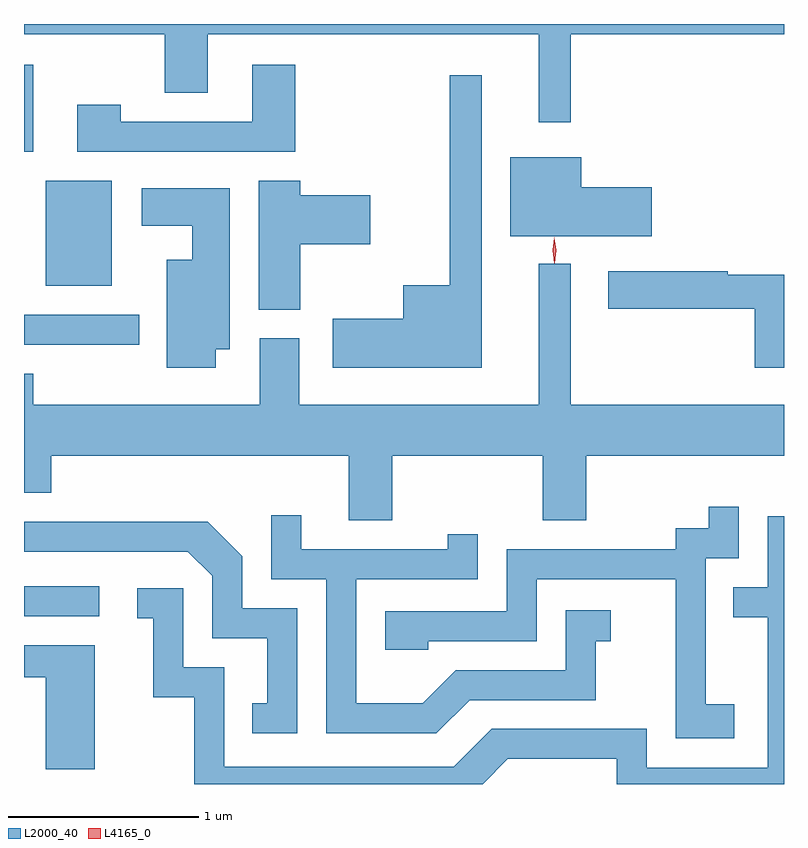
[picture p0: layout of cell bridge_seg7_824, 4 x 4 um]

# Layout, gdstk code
import gdstk
lib = gdstk.Library(unit=1e-6, precision=1e-09)
def R(c, l, rs):  # rectangles x0, y0, x1, y1
    for r in rs: c.add(gdstk.rectangle(r[:2], r[2:], *l))
def P(c, l, *ps):  # polygons
    for p in ps: c.add(gdstk.Polygon(p, *l))
L2000_40 = (2000, 40)
L4165_0 = (4165, 0)

bridge_seg7_824 = lib.new_cell('bridge_seg7_824')
R(bridge_seg7_824, L2000_40, [(208.121,1709.031,208.518,1709.189), (208.121,1710.461,208.728,1710.619), (208.236,1710.771,208.584,1711.324), (208.121,1711.476,208.169,1711.934)])
P(bridge_seg7_824, L2000_40, [(210.999,1712.096),(212.121,1712.096),(212.121,1712.149),(208.121,1712.149),(208.121,1712.096),(208.861,1712.096),(208.861,1711.786),(209.089,1711.786),(209.089,1712.096),(210.831,1712.096),(210.831,1711.633),(210.999,1711.633)],
  [(209.549,1711.934),(209.321,1711.934),(209.321,1711.634),(208.629,1711.634),(208.629,1711.724),(208.401,1711.724),(208.401,1711.476),(209.549,1711.476)],
  [(210.529,1711.878),(210.361,1711.878),(210.361,1710.774),(210.116,1710.774),(210.116,1710.599),(209.746,1710.599),(209.746,1710.341),(210.529,1710.341)],
  [(211.424,1711.289),(211.054,1711.289),(211.054,1711.449),(210.681,1711.449),(210.681,1711.031),(211.424,1711.031)],
  [(209.574,1710.991),(209.944,1710.991),(209.944,1711.249),(209.574,1711.249),(209.574,1711.324),(209.356,1711.324),(209.356,1710.646),(209.574,1710.646)],
  [(209.129,1710.436),(209.204,1710.436),(209.204,1711.284),(208.741,1711.284),(208.741,1711.086),(209.006,1711.086),(209.006,1710.909),(208.871,1710.909),(208.871,1710.341),(209.129,1710.341)],
  [(210.059,1709.876),(210.851,1709.876),(210.851,1709.536),(211.079,1709.536),(211.079,1709.876),(212.121,1709.876),(212.121,1710.144),(210.999,1710.144),(210.999,1710.888),(210.831,1710.888),(210.831,1710.144),(209.569,1710.144),(209.569,1710.494),(209.361,1710.494),(209.361,1710.144),(208.169,1710.144),(208.169,1710.309),(208.121,1710.309),(208.121,1709.681),(208.264,1709.681),(208.264,1709.876),(209.831,1709.876),(209.831,1709.536),(210.059,1709.536)],
  [(212.121,1710.829),(211.824,1710.829),(211.824,1710.849),(211.196,1710.849),(211.196,1710.651),(211.966,1710.651),(211.966,1710.341),(212.121,1710.341)],
  [(211.859,1708.569),(211.709,1708.569),(211.709,1709.336),(211.884,1709.336),(211.884,1709.608),(211.726,1709.608),(211.726,1709.494),(211.551,1709.494),(211.551,1709.384),(210.661,1709.384),(210.661,1709.059),(210.021,1709.059),(210.021,1708.856),(210.249,1708.856),(210.249,1708.901),(210.819,1708.901),(210.819,1709.226),(211.551,1709.226),(211.551,1708.391),(211.859,1708.391)],
  [(210.467,1708.591),(211.129,1708.591),(211.129,1708.901),(211.208,1708.901),(211.208,1709.064),(210.971,1709.064),(210.971,1708.749),(210.394,1708.749),(210.219,1708.574),(209.869,1708.574),(209.869,1709.226),(210.509,1709.226),(210.509,1709.463),(210.351,1709.463),(210.351,1709.384),(209.579,1709.384),(209.579,1709.563),(209.421,1709.563),(209.421,1709.226),(209.711,1709.226),(209.711,1708.416),(210.292,1708.416)],
  [(210.667,1708.281),(211.241,1708.281),(211.241,1708.149),(212.121,1708.149),(212.121,1709.559),(212.036,1709.559),(212.036,1709.184),(211.853,1709.184),(211.853,1709.026),(212.036,1709.026),(212.036,1708.234),(211.399,1708.234),(211.399,1708.439),(210.584,1708.439),(210.384,1708.239),(209.174,1708.239),(209.174,1708.764),(208.959,1708.764),(208.959,1709.179),(208.718,1709.179),(208.718,1709.021),(208.801,1709.021),(208.801,1708.606),(209.016,1708.606),(209.016,1708.149),(210.535,1708.149)],
  [(209.559,1709.074),(209.269,1709.074),(209.269,1709.347),(209.087,1709.529),(208.121,1709.529),(208.121,1709.371),(208.984,1709.371),(209.111,1709.244),(209.111,1708.916),(209.401,1708.916),(209.401,1708.574),(209.323,1708.574),(209.323,1708.416),(209.559,1708.416)],
  [(208.494,1708.879),(208.121,1708.879),(208.121,1708.711),(208.236,1708.711),(208.236,1708.226),(208.494,1708.226)])
P(bridge_seg7_824, L4165_0, [(210.913,1710.893),(210.913,1710.893),(210.903,1710.956),(210.912,1711.019),(210.912,1711.02),(210.913,1711.019),(210.923,1710.956),(210.914,1710.893)],
  [(210.913,1710.889),(210.913,1710.89),(210.903,1710.958),(210.912,1711.025),(210.913,1711.026),(210.913,1711.025),(210.923,1710.958),(210.914,1710.89)])

lib.write_gds('bridge_seg7_824.gds')
